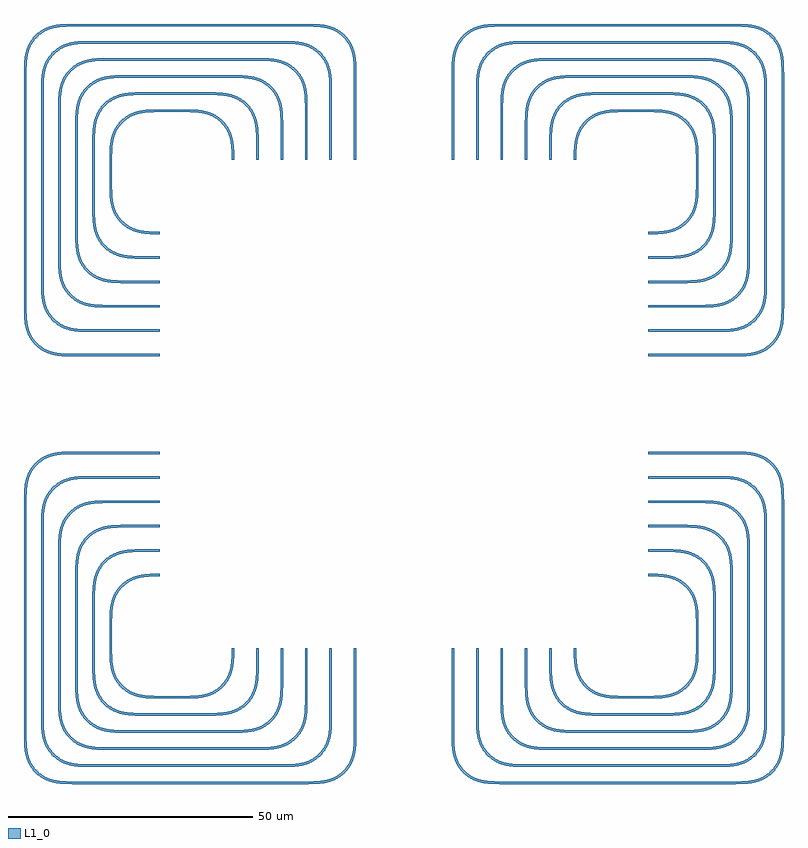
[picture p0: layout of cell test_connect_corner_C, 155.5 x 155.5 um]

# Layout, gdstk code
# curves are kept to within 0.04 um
from math import pi, radians
import gdstk
lib = gdstk.Library(unit=1e-6, precision=1e-09)
def R(c, l, rs):  # rectangles x0, y0, x1, y1
    for r in rs: c.add(gdstk.rectangle(r[:2], r[2:], *l))
def P(c, l, *ps):  # polygons
    for p in ps: c.add(gdstk.Polygon(p, *l))
L1_0 = (1, 0)

bend_euler_rnone_a90_p0p = lib.new_cell('bend_euler_RNone_A90_P0p5_WAFTrue_NNone_LNone_WNone_Dccw_CSxs_34e31a19')
P(bend_euler_rnone_a90_p0p, L1_0, [(0,-0.25),(0,0.25),(1.655,0.269),(2.881,0.353),(3.952,0.52),(4.99,0.806),(5.731,1.113),(6.431,1.505),(7.575,2.425),(8.495,3.569),(8.887,4.269),(9.194,5.01),(9.48,6.048),(9.647,7.119),(9.731,8.345),(9.75,10),(10.25,10),(10.158,7.205),(10.023,6.224),(9.797,5.254),(9.457,4.312),(9.066,3.545),(8.5,2.715),(7.928,2.072),(7.285,1.5),(6.455,0.934),(5.688,0.543),(4.746,0.203),(3.776,-0.023),(2.795,-0.158)])

straight_l17p5_n2_csxs_3 = lib.new_cell('straight_L17p5_N2_CSxs_34e31a19_W0p5')
R(straight_l17p5_n2_csxs_3, L1_0, [(0,-0.25,17.5,0.25)])

straight_l47p5_n2_csxs_3 = lib.new_cell('straight_L47p5_N2_CSxs_34e31a19_W0p5')
R(straight_l47p5_n2_csxs_3, L1_0, [(0,-0.25,47.5,0.25)])

straight_l14_n2_csxs_34e = lib.new_cell('straight_L14_N2_CSxs_34e31a19_W0p5')
R(straight_l14_n2_csxs_34e, L1_0, [(0,-0.25,14,0.25)])

straight_l39_n2_csxs_34e = lib.new_cell('straight_L39_N2_CSxs_34e31a19_W0p5')
R(straight_l39_n2_csxs_34e, L1_0, [(0,-0.25,39,0.25)])

straight_l10p5_n2_csxs_3 = lib.new_cell('straight_L10p5_N2_CSxs_34e31a19_W0p5')
R(straight_l10p5_n2_csxs_3, L1_0, [(0,-0.25,10.5,0.25)])

straight_l30p5_n2_csxs_3 = lib.new_cell('straight_L30p5_N2_CSxs_34e31a19_W0p5')
R(straight_l30p5_n2_csxs_3, L1_0, [(0,-0.25,30.5,0.25)])

straight_l7_n2_csxs_34e3 = lib.new_cell('straight_L7_N2_CSxs_34e31a19_W0p5')
R(straight_l7_n2_csxs_34e3, L1_0, [(0,-0.25,7,0.25)])

straight_l22_n2_csxs_34e = lib.new_cell('straight_L22_N2_CSxs_34e31a19_W0p5')
R(straight_l22_n2_csxs_34e, L1_0, [(0,-0.25,22,0.25)])

straight_l3p5_n2_csxs_34 = lib.new_cell('straight_L3p5_N2_CSxs_34e31a19_W0p5')
R(straight_l3p5_n2_csxs_34, L1_0, [(0,-0.25,3.5,0.25)])

straight_l13p5_n2_csxs_3 = lib.new_cell('straight_L13p5_N2_CSxs_34e31a19_W0p5')
R(straight_l13p5_n2_csxs_3, L1_0, [(0,-0.25,13.5,0.25)])

straight_l5_n2_csxs_34e3 = lib.new_cell('straight_L5_N2_CSxs_34e31a19_W0p5')
R(straight_l5_n2_csxs_34e3, L1_0, [(0,-0.25,5,0.25)])

test_connect_corner_c = lib.new_cell('test_connect_corner_C')
test_connect_corner_c.add(gdstk.Reference(bend_euler_rnone_a90_p0p, (77.5,20), rotation=3*pi/2, x_reflection=True))
test_connect_corner_c.add(gdstk.Reference(straight_l17p5_n2_csxs_3, (67.5,10), rotation=pi, x_reflection=True))
test_connect_corner_c.add(gdstk.Reference(bend_euler_rnone_a90_p0p, (67.5,77.5), x_reflection=True))
test_connect_corner_c.add(gdstk.Reference(straight_l47p5_n2_csxs_3, (77.5,67.5), rotation=3*pi/2, x_reflection=True))
test_connect_corner_c.add(gdstk.Reference(bend_euler_rnone_a90_p0p, (10,67.5), rotation=pi/2, x_reflection=True))
test_connect_corner_c.add(gdstk.Reference(straight_l47p5_n2_csxs_3, (20,77.5), x_reflection=True))
test_connect_corner_c.add(gdstk.Reference(straight_l17p5_n2_csxs_3, (10,67.5), rotation=3*pi/2, x_reflection=True))
test_connect_corner_c.add(gdstk.Reference(bend_euler_rnone_a90_p0p, (74,25), rotation=3*pi/2, x_reflection=True))
test_connect_corner_c.add(gdstk.Reference(straight_l14_n2_csxs_34e, (64,15), rotation=pi, x_reflection=True))
test_connect_corner_c.add(gdstk.Reference(bend_euler_rnone_a90_p0p, (64,74), x_reflection=True))
test_connect_corner_c.add(gdstk.Reference(straight_l39_n2_csxs_34e, (74,64), rotation=3*pi/2, x_reflection=True))
test_connect_corner_c.add(gdstk.Reference(bend_euler_rnone_a90_p0p, (15,64), rotation=pi/2, x_reflection=True))
test_connect_corner_c.add(gdstk.Reference(straight_l39_n2_csxs_34e, (25,74), x_reflection=True))
test_connect_corner_c.add(gdstk.Reference(straight_l14_n2_csxs_34e, (15,64), rotation=3*pi/2, x_reflection=True))
test_connect_corner_c.add(gdstk.Reference(bend_euler_rnone_a90_p0p, (70.5,30), rotation=3*pi/2, x_reflection=True))
test_connect_corner_c.add(gdstk.Reference(straight_l10p5_n2_csxs_3, (60.5,20), rotation=pi, x_reflection=True))
test_connect_corner_c.add(gdstk.Reference(bend_euler_rnone_a90_p0p, (60.5,70.5), x_reflection=True))
test_connect_corner_c.add(gdstk.Reference(straight_l30p5_n2_csxs_3, (70.5,60.5), rotation=3*pi/2, x_reflection=True))
test_connect_corner_c.add(gdstk.Reference(bend_euler_rnone_a90_p0p, (20,60.5), rotation=pi/2, x_reflection=True))
test_connect_corner_c.add(gdstk.Reference(straight_l30p5_n2_csxs_3, (30,70.5), x_reflection=True))
test_connect_corner_c.add(gdstk.Reference(straight_l10p5_n2_csxs_3, (20,60.5), rotation=3*pi/2, x_reflection=True))
test_connect_corner_c.add(gdstk.Reference(bend_euler_rnone_a90_p0p, (67,35), rotation=3*pi/2, x_reflection=True))
test_connect_corner_c.add(gdstk.Reference(straight_l7_n2_csxs_34e3, (57,25), rotation=pi, x_reflection=True))
test_connect_corner_c.add(gdstk.Reference(bend_euler_rnone_a90_p0p, (57,67), x_reflection=True))
test_connect_corner_c.add(gdstk.Reference(straight_l22_n2_csxs_34e, (67,57), rotation=3*pi/2, x_reflection=True))
test_connect_corner_c.add(gdstk.Reference(bend_euler_rnone_a90_p0p, (25,57), rotation=pi/2, x_reflection=True))
test_connect_corner_c.add(gdstk.Reference(straight_l22_n2_csxs_34e, (35,67), x_reflection=True))
test_connect_corner_c.add(gdstk.Reference(straight_l7_n2_csxs_34e3, (25,57), rotation=3*pi/2, x_reflection=True))
test_connect_corner_c.add(gdstk.Reference(bend_euler_rnone_a90_p0p, (63.5,40), rotation=3*pi/2, x_reflection=True))
test_connect_corner_c.add(gdstk.Reference(straight_l3p5_n2_csxs_34, (53.5,30), rotation=pi, x_reflection=True))
test_connect_corner_c.add(gdstk.Reference(bend_euler_rnone_a90_p0p, (53.5,63.5), x_reflection=True))
test_connect_corner_c.add(gdstk.Reference(straight_l13p5_n2_csxs_3, (63.5,53.5), rotation=3*pi/2, x_reflection=True))
test_connect_corner_c.add(gdstk.Reference(bend_euler_rnone_a90_p0p, (30,53.5), rotation=pi/2, x_reflection=True))
test_connect_corner_c.add(gdstk.Reference(straight_l13p5_n2_csxs_3, (40,63.5), x_reflection=True))
test_connect_corner_c.add(gdstk.Reference(straight_l3p5_n2_csxs_34, (30,53.5), rotation=3*pi/2, x_reflection=True))
test_connect_corner_c.add(gdstk.Reference(bend_euler_rnone_a90_p0p, (60,45), rotation=3*pi/2, x_reflection=True))
test_connect_corner_c.add(gdstk.Reference(bend_euler_rnone_a90_p0p, (50,60), x_reflection=True))
test_connect_corner_c.add(gdstk.Reference(straight_l5_n2_csxs_34e3, (60,50), rotation=3*pi/2, x_reflection=True))
test_connect_corner_c.add(gdstk.Reference(bend_euler_rnone_a90_p0p, (35,50), rotation=pi/2, x_reflection=True))
test_connect_corner_c.add(gdstk.Reference(straight_l5_n2_csxs_34e3, (45,60), x_reflection=True))
test_connect_corner_c.add(gdstk.Reference(bend_euler_rnone_a90_p0p, (-77.5,20), rotation=3*pi/2))
test_connect_corner_c.add(gdstk.Reference(straight_l17p5_n2_csxs_3, (-67.5,10)))
test_connect_corner_c.add(gdstk.Reference(bend_euler_rnone_a90_p0p, (-67.5,77.5), rotation=pi))
test_connect_corner_c.add(gdstk.Reference(straight_l47p5_n2_csxs_3, (-77.5,67.5), rotation=3*pi/2))
test_connect_corner_c.add(gdstk.Reference(bend_euler_rnone_a90_p0p, (-10,67.5), rotation=pi/2))
test_connect_corner_c.add(gdstk.Reference(straight_l47p5_n2_csxs_3, (-20,77.5), rotation=pi))
test_connect_corner_c.add(gdstk.Reference(straight_l17p5_n2_csxs_3, (-10,67.5), rotation=3*pi/2))
test_connect_corner_c.add(gdstk.Reference(bend_euler_rnone_a90_p0p, (-74,25), rotation=3*pi/2))
test_connect_corner_c.add(gdstk.Reference(straight_l14_n2_csxs_34e, (-64,15)))
test_connect_corner_c.add(gdstk.Reference(bend_euler_rnone_a90_p0p, (-64,74), rotation=pi))
test_connect_corner_c.add(gdstk.Reference(straight_l39_n2_csxs_34e, (-74,64), rotation=3*pi/2))
test_connect_corner_c.add(gdstk.Reference(bend_euler_rnone_a90_p0p, (-15,64), rotation=pi/2))
test_connect_corner_c.add(gdstk.Reference(straight_l39_n2_csxs_34e, (-25,74), rotation=pi))
test_connect_corner_c.add(gdstk.Reference(straight_l14_n2_csxs_34e, (-15,64), rotation=3*pi/2))
test_connect_corner_c.add(gdstk.Reference(bend_euler_rnone_a90_p0p, (-70.5,30), rotation=3*pi/2))
test_connect_corner_c.add(gdstk.Reference(straight_l10p5_n2_csxs_3, (-60.5,20)))
test_connect_corner_c.add(gdstk.Reference(bend_euler_rnone_a90_p0p, (-60.5,70.5), rotation=pi))
test_connect_corner_c.add(gdstk.Reference(straight_l30p5_n2_csxs_3, (-70.5,60.5), rotation=3*pi/2))
test_connect_corner_c.add(gdstk.Reference(bend_euler_rnone_a90_p0p, (-20,60.5), rotation=pi/2))
test_connect_corner_c.add(gdstk.Reference(straight_l30p5_n2_csxs_3, (-30,70.5), rotation=pi))
test_connect_corner_c.add(gdstk.Reference(straight_l10p5_n2_csxs_3, (-20,60.5), rotation=3*pi/2))
test_connect_corner_c.add(gdstk.Reference(bend_euler_rnone_a90_p0p, (-67,35), rotation=3*pi/2))
test_connect_corner_c.add(gdstk.Reference(straight_l7_n2_csxs_34e3, (-57,25)))
test_connect_corner_c.add(gdstk.Reference(bend_euler_rnone_a90_p0p, (-57,67), rotation=pi))
test_connect_corner_c.add(gdstk.Reference(straight_l22_n2_csxs_34e, (-67,57), rotation=3*pi/2))
test_connect_corner_c.add(gdstk.Reference(bend_euler_rnone_a90_p0p, (-25,57), rotation=pi/2))
test_connect_corner_c.add(gdstk.Reference(straight_l22_n2_csxs_34e, (-35,67), rotation=pi))
test_connect_corner_c.add(gdstk.Reference(straight_l7_n2_csxs_34e3, (-25,57), rotation=3*pi/2))
test_connect_corner_c.add(gdstk.Reference(bend_euler_rnone_a90_p0p, (-63.5,40), rotation=3*pi/2))
test_connect_corner_c.add(gdstk.Reference(straight_l3p5_n2_csxs_34, (-53.5,30)))
test_connect_corner_c.add(gdstk.Reference(bend_euler_rnone_a90_p0p, (-53.5,63.5), rotation=pi))
test_connect_corner_c.add(gdstk.Reference(straight_l13p5_n2_csxs_3, (-63.5,53.5), rotation=3*pi/2))
test_connect_corner_c.add(gdstk.Reference(bend_euler_rnone_a90_p0p, (-30,53.5), rotation=pi/2))
test_connect_corner_c.add(gdstk.Reference(straight_l13p5_n2_csxs_3, (-40,63.5), rotation=pi))
test_connect_corner_c.add(gdstk.Reference(straight_l3p5_n2_csxs_34, (-30,53.5), rotation=3*pi/2))
test_connect_corner_c.add(gdstk.Reference(bend_euler_rnone_a90_p0p, (-60,45), rotation=3*pi/2))
test_connect_corner_c.add(gdstk.Reference(bend_euler_rnone_a90_p0p, (-50,60), rotation=pi))
test_connect_corner_c.add(gdstk.Reference(straight_l5_n2_csxs_34e3, (-60,50), rotation=3*pi/2))
test_connect_corner_c.add(gdstk.Reference(bend_euler_rnone_a90_p0p, (-35,50), rotation=pi/2))
test_connect_corner_c.add(gdstk.Reference(straight_l5_n2_csxs_34e3, (-45,60), rotation=pi))
test_connect_corner_c.add(gdstk.Reference(bend_euler_rnone_a90_p0p, (-77.5,-20), rotation=pi/2, x_reflection=True))
test_connect_corner_c.add(gdstk.Reference(straight_l17p5_n2_csxs_3, (-67.5,-10), x_reflection=True))
test_connect_corner_c.add(gdstk.Reference(bend_euler_rnone_a90_p0p, (-67.5,-77.5), rotation=pi, x_reflection=True))
test_connect_corner_c.add(gdstk.Reference(straight_l47p5_n2_csxs_3, (-77.5,-67.5), rotation=pi/2, x_reflection=True))
test_connect_corner_c.add(gdstk.Reference(bend_euler_rnone_a90_p0p, (-10,-67.5), rotation=3*pi/2, x_reflection=True))
test_connect_corner_c.add(gdstk.Reference(straight_l47p5_n2_csxs_3, (-20,-77.5), rotation=pi, x_reflection=True))
test_connect_corner_c.add(gdstk.Reference(straight_l17p5_n2_csxs_3, (-10,-67.5), rotation=pi/2, x_reflection=True))
test_connect_corner_c.add(gdstk.Reference(bend_euler_rnone_a90_p0p, (-74,-25), rotation=pi/2, x_reflection=True))
test_connect_corner_c.add(gdstk.Reference(straight_l14_n2_csxs_34e, (-64,-15), x_reflection=True))
test_connect_corner_c.add(gdstk.Reference(bend_euler_rnone_a90_p0p, (-64,-74), rotation=pi, x_reflection=True))
test_connect_corner_c.add(gdstk.Reference(straight_l39_n2_csxs_34e, (-74,-64), rotation=pi/2, x_reflection=True))
test_connect_corner_c.add(gdstk.Reference(bend_euler_rnone_a90_p0p, (-15,-64), rotation=3*pi/2, x_reflection=True))
test_connect_corner_c.add(gdstk.Reference(straight_l39_n2_csxs_34e, (-25,-74), rotation=pi, x_reflection=True))
test_connect_corner_c.add(gdstk.Reference(straight_l14_n2_csxs_34e, (-15,-64), rotation=pi/2, x_reflection=True))
test_connect_corner_c.add(gdstk.Reference(bend_euler_rnone_a90_p0p, (-70.5,-30), rotation=pi/2, x_reflection=True))
test_connect_corner_c.add(gdstk.Reference(straight_l10p5_n2_csxs_3, (-60.5,-20), x_reflection=True))
test_connect_corner_c.add(gdstk.Reference(bend_euler_rnone_a90_p0p, (-60.5,-70.5), rotation=pi, x_reflection=True))
test_connect_corner_c.add(gdstk.Reference(straight_l30p5_n2_csxs_3, (-70.5,-60.5), rotation=pi/2, x_reflection=True))
test_connect_corner_c.add(gdstk.Reference(bend_euler_rnone_a90_p0p, (-20,-60.5), rotation=3*pi/2, x_reflection=True))
test_connect_corner_c.add(gdstk.Reference(straight_l30p5_n2_csxs_3, (-30,-70.5), rotation=pi, x_reflection=True))
test_connect_corner_c.add(gdstk.Reference(straight_l10p5_n2_csxs_3, (-20,-60.5), rotation=pi/2, x_reflection=True))
test_connect_corner_c.add(gdstk.Reference(bend_euler_rnone_a90_p0p, (-67,-35), rotation=pi/2, x_reflection=True))
test_connect_corner_c.add(gdstk.Reference(straight_l7_n2_csxs_34e3, (-57,-25), x_reflection=True))
test_connect_corner_c.add(gdstk.Reference(bend_euler_rnone_a90_p0p, (-57,-67), rotation=pi, x_reflection=True))
test_connect_corner_c.add(gdstk.Reference(straight_l22_n2_csxs_34e, (-67,-57), rotation=pi/2, x_reflection=True))
test_connect_corner_c.add(gdstk.Reference(bend_euler_rnone_a90_p0p, (-25,-57), rotation=3*pi/2, x_reflection=True))
test_connect_corner_c.add(gdstk.Reference(straight_l22_n2_csxs_34e, (-35,-67), rotation=pi, x_reflection=True))
test_connect_corner_c.add(gdstk.Reference(straight_l7_n2_csxs_34e3, (-25,-57), rotation=pi/2, x_reflection=True))
test_connect_corner_c.add(gdstk.Reference(bend_euler_rnone_a90_p0p, (-63.5,-40), rotation=pi/2, x_reflection=True))
test_connect_corner_c.add(gdstk.Reference(straight_l3p5_n2_csxs_34, (-53.5,-30), x_reflection=True))
test_connect_corner_c.add(gdstk.Reference(bend_euler_rnone_a90_p0p, (-53.5,-63.5), rotation=pi, x_reflection=True))
test_connect_corner_c.add(gdstk.Reference(straight_l13p5_n2_csxs_3, (-63.5,-53.5), rotation=pi/2, x_reflection=True))
test_connect_corner_c.add(gdstk.Reference(bend_euler_rnone_a90_p0p, (-30,-53.5), rotation=3*pi/2, x_reflection=True))
test_connect_corner_c.add(gdstk.Reference(straight_l13p5_n2_csxs_3, (-40,-63.5), rotation=pi, x_reflection=True))
test_connect_corner_c.add(gdstk.Reference(straight_l3p5_n2_csxs_34, (-30,-53.5), rotation=pi/2, x_reflection=True))
test_connect_corner_c.add(gdstk.Reference(bend_euler_rnone_a90_p0p, (-60,-45), rotation=pi/2, x_reflection=True))
test_connect_corner_c.add(gdstk.Reference(bend_euler_rnone_a90_p0p, (-50,-60), rotation=pi, x_reflection=True))
test_connect_corner_c.add(gdstk.Reference(straight_l5_n2_csxs_34e3, (-60,-50), rotation=pi/2, x_reflection=True))
test_connect_corner_c.add(gdstk.Reference(bend_euler_rnone_a90_p0p, (-35,-50), rotation=3*pi/2, x_reflection=True))
test_connect_corner_c.add(gdstk.Reference(straight_l5_n2_csxs_34e3, (-45,-60), rotation=pi, x_reflection=True))
test_connect_corner_c.add(gdstk.Reference(bend_euler_rnone_a90_p0p, (77.5,-20), rotation=pi/2))
test_connect_corner_c.add(gdstk.Reference(straight_l17p5_n2_csxs_3, (67.5,-10), rotation=pi))
test_connect_corner_c.add(gdstk.Reference(bend_euler_rnone_a90_p0p, (67.5,-77.5)))
test_connect_corner_c.add(gdstk.Reference(straight_l47p5_n2_csxs_3, (77.5,-67.5), rotation=pi/2))
test_connect_corner_c.add(gdstk.Reference(bend_euler_rnone_a90_p0p, (10,-67.5), rotation=3*pi/2))
test_connect_corner_c.add(gdstk.Reference(straight_l47p5_n2_csxs_3, (20,-77.5)))
test_connect_corner_c.add(gdstk.Reference(straight_l17p5_n2_csxs_3, (10,-67.5), rotation=pi/2))
test_connect_corner_c.add(gdstk.Reference(bend_euler_rnone_a90_p0p, (74,-25), rotation=pi/2))
test_connect_corner_c.add(gdstk.Reference(straight_l14_n2_csxs_34e, (64,-15), rotation=pi))
test_connect_corner_c.add(gdstk.Reference(bend_euler_rnone_a90_p0p, (64,-74)))
test_connect_corner_c.add(gdstk.Reference(straight_l39_n2_csxs_34e, (74,-64), rotation=pi/2))
test_connect_corner_c.add(gdstk.Reference(bend_euler_rnone_a90_p0p, (15,-64), rotation=3*pi/2))
test_connect_corner_c.add(gdstk.Reference(straight_l39_n2_csxs_34e, (25,-74)))
test_connect_corner_c.add(gdstk.Reference(straight_l14_n2_csxs_34e, (15,-64), rotation=pi/2))
test_connect_corner_c.add(gdstk.Reference(bend_euler_rnone_a90_p0p, (70.5,-30), rotation=pi/2))
test_connect_corner_c.add(gdstk.Reference(straight_l10p5_n2_csxs_3, (60.5,-20), rotation=pi))
test_connect_corner_c.add(gdstk.Reference(bend_euler_rnone_a90_p0p, (60.5,-70.5)))
test_connect_corner_c.add(gdstk.Reference(straight_l30p5_n2_csxs_3, (70.5,-60.5), rotation=pi/2))
test_connect_corner_c.add(gdstk.Reference(bend_euler_rnone_a90_p0p, (20,-60.5), rotation=3*pi/2))
test_connect_corner_c.add(gdstk.Reference(straight_l30p5_n2_csxs_3, (30,-70.5)))
test_connect_corner_c.add(gdstk.Reference(straight_l10p5_n2_csxs_3, (20,-60.5), rotation=pi/2))
test_connect_corner_c.add(gdstk.Reference(bend_euler_rnone_a90_p0p, (67,-35), rotation=pi/2))
test_connect_corner_c.add(gdstk.Reference(straight_l7_n2_csxs_34e3, (57,-25), rotation=pi))
test_connect_corner_c.add(gdstk.Reference(bend_euler_rnone_a90_p0p, (57,-67)))
test_connect_corner_c.add(gdstk.Reference(straight_l22_n2_csxs_34e, (67,-57), rotation=pi/2))
test_connect_corner_c.add(gdstk.Reference(bend_euler_rnone_a90_p0p, (25,-57), rotation=3*pi/2))
test_connect_corner_c.add(gdstk.Reference(straight_l22_n2_csxs_34e, (35,-67)))
test_connect_corner_c.add(gdstk.Reference(straight_l7_n2_csxs_34e3, (25,-57), rotation=pi/2))
test_connect_corner_c.add(gdstk.Reference(bend_euler_rnone_a90_p0p, (63.5,-40), rotation=pi/2))
test_connect_corner_c.add(gdstk.Reference(straight_l3p5_n2_csxs_34, (53.5,-30), rotation=pi))
test_connect_corner_c.add(gdstk.Reference(bend_euler_rnone_a90_p0p, (53.5,-63.5)))
test_connect_corner_c.add(gdstk.Reference(straight_l13p5_n2_csxs_3, (63.5,-53.5), rotation=pi/2))
test_connect_corner_c.add(gdstk.Reference(bend_euler_rnone_a90_p0p, (30,-53.5), rotation=3*pi/2))
test_connect_corner_c.add(gdstk.Reference(straight_l13p5_n2_csxs_3, (40,-63.5)))
test_connect_corner_c.add(gdstk.Reference(straight_l3p5_n2_csxs_34, (30,-53.5), rotation=pi/2))
test_connect_corner_c.add(gdstk.Reference(bend_euler_rnone_a90_p0p, (60,-45), rotation=pi/2))
test_connect_corner_c.add(gdstk.Reference(bend_euler_rnone_a90_p0p, (50,-60)))
test_connect_corner_c.add(gdstk.Reference(straight_l5_n2_csxs_34e3, (60,-50), rotation=pi/2))
test_connect_corner_c.add(gdstk.Reference(bend_euler_rnone_a90_p0p, (35,-50), rotation=3*pi/2))
test_connect_corner_c.add(gdstk.Reference(straight_l5_n2_csxs_34e3, (45,-60)))

lib.write_gds('test_connect_corner_C.gds')
